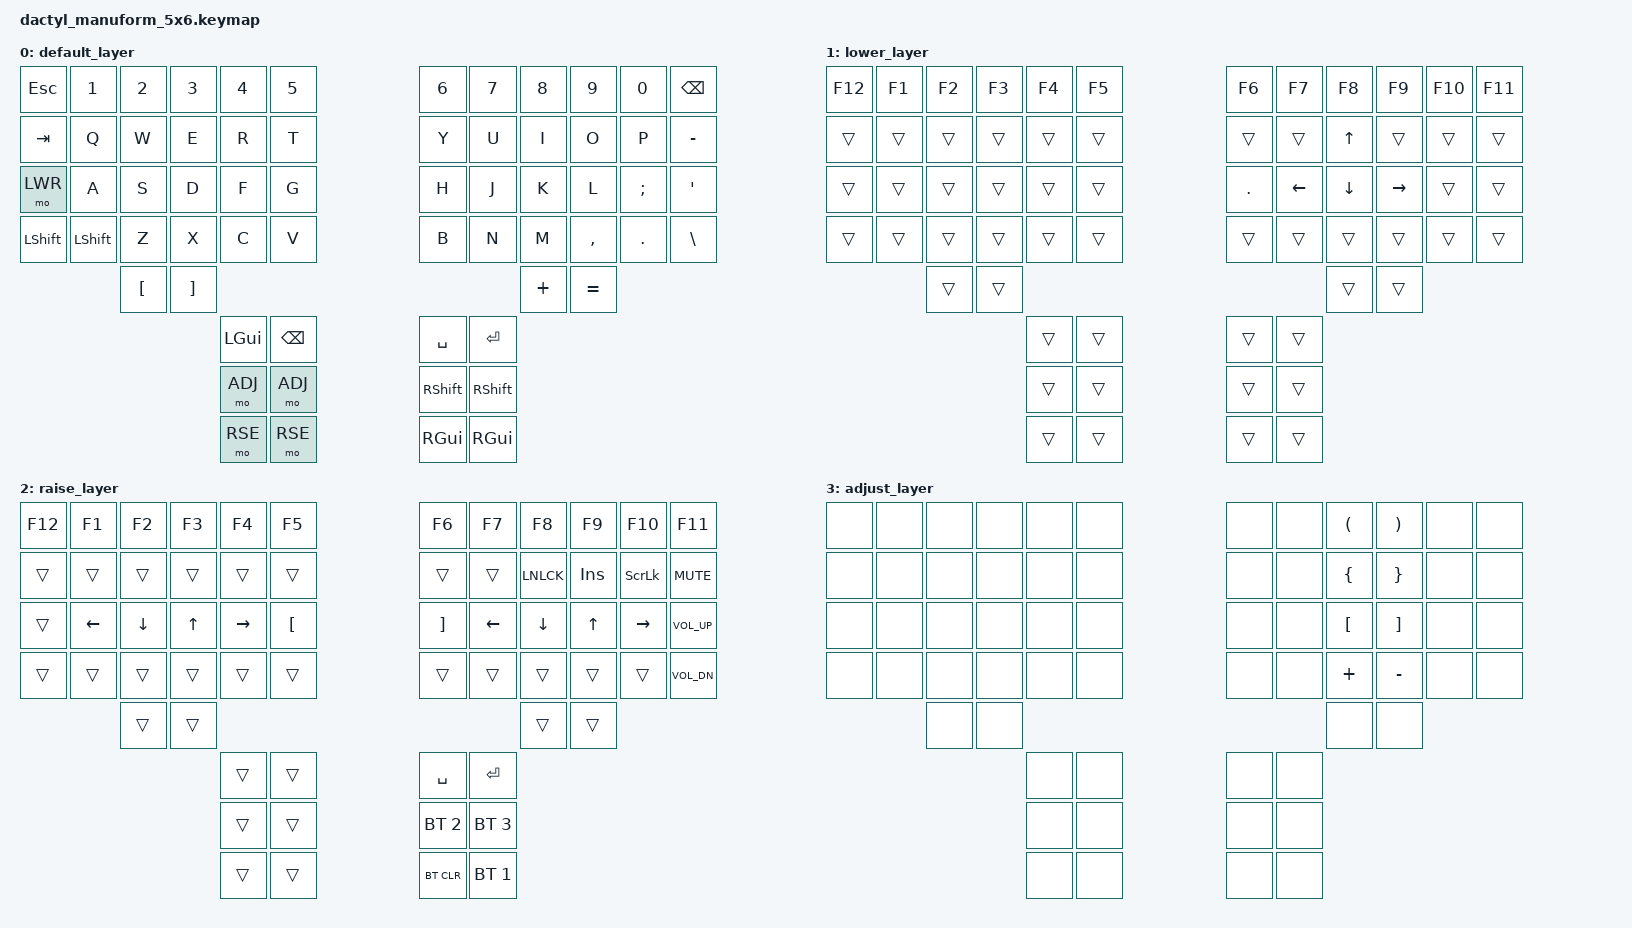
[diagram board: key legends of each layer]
#include <behaviors.dtsi>
#include <dt-bindings/zmk/keys.h>
#include <dt-bindings/zmk/bt.h>
#include <dt-bindings/zmk/outputs.h>

#define DEFAULT 0
#define LWR 1
#define RSE 2
#define ADJ 3

/ {
    keymap {
        compatible = "zmk,keymap";

        default_layer {
            bindings = <
                &kp ESC &kp N1 &kp N2 &kp N3 &kp N4 &kp N5              &kp N6 &kp N7 &kp N8    &kp N9  &kp N0   &kp BSPC
                &kp TAB   &kp Q  &kp W  &kp E  &kp R  &kp T               &kp Y  &kp U  &kp I     &kp O   &kp P    &kp MINUS
                &mo LWR &kp A  &kp S  &kp D  &kp F  &kp G               &kp H  &kp J  &kp K     &kp L   &kp SEMI &kp SQT
                &kp LSHFT &kp LSHFT  &kp Z  &kp X  &kp C  &kp V               &kp B  &kp N  &kp M &kp COMMA &kp DOT &kp BSLH
                                 &kp LBKT &kp RBKT                                      &kp PLUS &kp EQUAL
                                            &kp LEFT_GUI  &kp BSPC            &kp SPACE  &kp ENTER
                                            &mo ADJ   &mo ADJ            &kp RSHFT  &kp RSHFT
                                            &mo RSE &mo RSE                   &kp RIGHT_GUI &kp RIGHT_GUI
            >;
        };

        lower_layer {
            bindings = <
                &kp F12 &kp F1 &kp F2 &kp F3 &kp F4 &kp F5                &kp F6 &kp F7   &kp F8   &kp F9 &kp F10   &kp F11
                &trans  &trans &trans &trans &trans &trans                &trans &trans   &kp UP   &trans &trans    &trans
                &trans  &trans &trans &trans &trans &trans                &kp DOT &kp LEFT &kp DOWN &kp RIGHT &trans &trans
                &trans  &trans &trans &trans &trans &trans                &trans &trans   &trans   &trans &trans    &trans
                               &trans &trans                                              &trans &trans
                                             &trans &trans                &trans &trans
                                             &trans &trans                &trans &trans
                                             &trans &trans                &trans &trans
            >;
        };

        raise_layer {
            bindings = <
                &kp F12 &kp F1 &kp F2 &kp F3 &kp F4 &kp F5                &kp F6 &kp F7   &kp F8   &kp F9 &kp F10   &kp F11
                &trans  &trans &trans &trans &trans &trans                &trans &trans   &kp LNLCK &kp INS &kp SLCK &kp K_MUTE
                &trans  &kp LEFT &kp DOWN &kp UP &kp RIGHT &kp LBKT       &kp RBKT &kp LEFT &kp DOWN &kp UP &kp RIGHT &kp K_VOL_UP
                &trans  &trans &trans &trans &trans &trans                &trans &trans &trans &trans &trans &kp K_VOL_DN
                               &trans &trans                                            &trans &trans
                                             &trans &trans               &kp SPACE &kp ENTER
                                             &trans &trans                &bt BT_SEL 2 &bt BT_SEL 3
                                             &trans &trans                &bt BT_CLR &bt BT_SEL 1
            >;
        };

        adjust_layer {
            bindings = <
                &none &none &none &none &none &none         &none &none &kp LPAR &kp RPAR &none &none
                &none &none &none &none &none &none         &none &none &kp LBRC &kp RBRC &none &none
                &none &none &none &none &none &none         &none &none &kp LBKT &kp RBKT &none &none
                &none &none &none &none &none &none         &none &none &kp PLUS &kp MINUS &none &none
                                   &none &none                                 &none &none
                                                      &none &none             &none &none
                                                      &none &none             &none &none
                                                      &none &none             &none &none
            >;
        };
    };
    combos {
        compatible = "zmk,combos";
        combo_enter_right {
            timeout-ms = <500>;
            key-positions = <31 32 33>;
            bindings = <&kp ENTER>;
        };
        combo_enter_left {
            timeout-ms = <500>;
            key-positions = <26 27 28>;
            bindings = <&kp ENTER>;
        };
        combo_shift_right {
            timeout-ms = <500>;
            key-positions = <27 28>;
            bindings = <&kp LSHFT>;
        };
        combo_shift_left {
            timeout-ms = <500>;
            key-positions = <31 32>;
            bindings = <&kp RSHFT>;
        };
    };   
};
